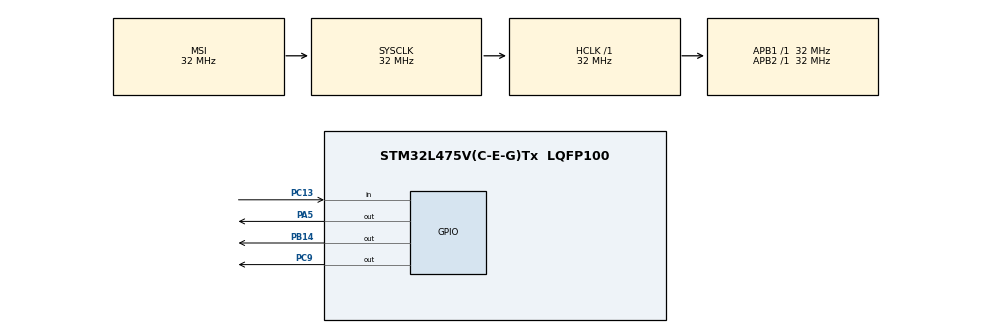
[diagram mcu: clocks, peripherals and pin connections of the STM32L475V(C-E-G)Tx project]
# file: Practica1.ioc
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Mcu.Family=STM32L4
Mcu.Name=STM32L475V(C-E-G)Tx
Mcu.Package=LQFP100
NVIC.PriorityGroup=NVIC_PRIORITYGROUP_4
PA5.Signal=GPIO_Output
PB14.Signal=GPIO_Output
PC13.Signal=GPIO_Input
PC9.Signal=GPIO_Output
PH0-OSC_IN\ (PH0).Mode=HSE-External-Oscillator
PH0-OSC_IN\ (PH0).Signal=RCC_OSC_IN
PH1-OSC_OUT\ (PH1).Mode=HSE-External-Oscillator
PH1-OSC_OUT\ (PH1).Signal=RCC_OSC_OUT
ProjectManager.HeapSize=0x200
ProjectManager.StackSize=0x400
ProjectManager.TargetToolchain=STM32CubeIDE
RCC.ADCFreq_Value=128000000
RCC.AHBFreq_Value=32000000
RCC.APB1Freq_Value=32000000
RCC.APB1TimFreq_Value=32000000
RCC.APB2Freq_Value=32000000
RCC.APB2TimFreq_Value=32000000
RCC.CortexFreq_Value=32000000
RCC.HCLKFreq_Value=32000000
RCC.HSE_VALUE=8000000
RCC.HSI_VALUE=16000000
RCC.LSE_VALUE=32768
RCC.MSIClockRange=RCC_MSIRANGE_10
RCC.MSI_VALUE=32000000
RCC.PLLN=20
RCC.SYSCLKFreq_VALUE=32000000
RCC.USBFreq_Value=128000000
RCC.VCOOutputFreq_Value=640000000
board=custom

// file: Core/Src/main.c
/* USER CODE BEGIN Header */
/**
  ******************************************************************************
  * @file           : main.c
  * @brief          : Main program body
  ******************************************************************************
  * @attention
  *
  * Copyright (c) 2025 STMicroelectronics.
  * All rights reserved.
  *
  * This software is licensed under terms that can be found in the LICENSE file
  * in the root directory of this software component.
  * If no LICENSE file comes with this software, it is provided AS-IS.
  *
  ******************************************************************************
  */
/* USER CODE END Header */
#include "main.h"
#include "led_driver.h"
#include "joy_driver.h"

void SystemClock_Config(void);
static void MX_GPIO_Init(void);
void animation1();
void animation2();
void animation3();

int main(void)
{

  /* MCU Configuration--------------------------------------------------------*/

  /* Reset of all peripherals, Initializes the Flash interface and the Systick. */
  HAL_Init();

  /* Configure the system clock */
  SystemClock_Config();

  /* Initialize all configured peripherals */
  MX_GPIO_Init();

  /* Infinite loop */
  while (1)
  {

    /* USER CODE BEGIN 3 */
	  //HAL_GPIO_WritePin(GPIOA, GPIO_PIN_5, SET);
	  //HAL_GPIO_WritePin(GPIOA, GPIO_PIN_5, RESET);
	  //HAL_GPIO_TogglePin(GPIOA, GPIO_PIN_5);
	  //uint8_t nLed;
	  //for(nLed=0; nLed<3; nLed++){
	  //	  LED_Off(nLed);
	//	  HAL_Delay(200);
		//  LED_On(nLed);
		  //HAL_Delay(200);
		  //LED_Toggle(nLed);
		  //HAL_Delay(200);
	 // }

	  switch(readJoy()){
	  	 case 0:
	  		 LED_Off(0);
	  		 LED_Off(1);
	  		 LED_Off(2);
	  		 break;
	  	 case 1:
	  		  animation1();
	  		break;
	  	 case 2:
	  		 animation2();
	  		break;
	  	 case 3:
	  		 animation3();
	  		break;
	  }
  }
  /* USER CODE END 3 */
}

void SystemClock_Config(void)
{
  RCC_OscInitTypeDef RCC_OscInitStruct = {0};
  RCC_ClkInitTypeDef RCC_ClkInitStruct = {0};

  /** Configure the main internal regulator output voltage
  */
  if (HAL_PWREx_ControlVoltageScaling(PWR_REGULATOR_VOLTAGE_SCALE1) != HAL_OK)
  {
    Error_Handler();
  }

  /** Initializes the RCC Oscillators according to the specified parameters
  * in the RCC_OscInitTypeDef structure.
  */
  RCC_OscInitStruct.OscillatorType = RCC_OSCILLATORTYPE_MSI;
  RCC_OscInitStruct.MSIState = RCC_MSI_ON;
  RCC_OscInitStruct.MSICalibrationValue = 0;
  RCC_OscInitStruct.MSIClockRange = RCC_MSIRANGE_10;
  RCC_OscInitStruct.PLL.PLLState = RCC_PLL_NONE;
  if (HAL_RCC_OscConfig(&RCC_OscInitStruct) != HAL_OK)
  {
    Error_Handler();
  }

  /** Initializes the CPU, AHB and APB buses clocks
  */
  RCC_ClkInitStruct.ClockType = RCC_CLOCKTYPE_HCLK|RCC_CLOCKTYPE_SYSCLK
                              |RCC_CLOCKTYPE_PCLK1|RCC_CLOCKTYPE_PCLK2;
  RCC_ClkInitStruct.SYSCLKSource = RCC_SYSCLKSOURCE_MSI;
  RCC_ClkInitStruct.AHBCLKDivider = RCC_SYSCLK_DIV1;
  RCC_ClkInitStruct.APB1CLKDivider = RCC_HCLK_DIV1;
  RCC_ClkInitStruct.APB2CLKDivider = RCC_HCLK_DIV1;

  if (HAL_RCC_ClockConfig(&RCC_ClkInitStruct, FLASH_LATENCY_1) != HAL_OK)
  {
    Error_Handler();
  }
}

static void MX_GPIO_Init(void)
{
  GPIO_InitTypeDef GPIO_InitStruct = {0};

  /* GPIO Ports Clock Enable */
  __HAL_RCC_GPIOC_CLK_ENABLE();
  __HAL_RCC_GPIOH_CLK_ENABLE();
  __HAL_RCC_GPIOA_CLK_ENABLE();
  __HAL_RCC_GPIOB_CLK_ENABLE();

  /*Configure GPIO pin Output Level */
  HAL_GPIO_WritePin(GPIOA, GPIO_PIN_5, GPIO_PIN_RESET);

  /*Configure GPIO pin Output Level */
  HAL_GPIO_WritePin(GPIOB, GPIO_PIN_14, GPIO_PIN_RESET);

  /*Configure GPIO pin Output Level */
  HAL_GPIO_WritePin(GPIOC, GPIO_PIN_9, GPIO_PIN_RESET);

  /*Configure GPIO pin : PC13 */
  GPIO_InitStruct.Pin = GPIO_PIN_13;
  GPIO_InitStruct.Mode = GPIO_MODE_INPUT;
  GPIO_InitStruct.Pull = GPIO_NOPULL;
  HAL_GPIO_Init(GPIOC, &GPIO_InitStruct);

  /*Configure GPIO pin : PA5 */
  GPIO_InitStruct.Pin = GPIO_PIN_5;
  GPIO_InitStruct.Mode = GPIO_MODE_OUTPUT_PP;
  GPIO_InitStruct.Pull = GPIO_NOPULL;
  GPIO_InitStruct.Speed = GPIO_SPEED_FREQ_LOW;
  HAL_GPIO_Init(GPIOA, &GPIO_InitStruct);

  /*Configure GPIO pin : PB14 */
  GPIO_InitStruct.Pin = GPIO_PIN_14;
  GPIO_InitStruct.Mode = GPIO_MODE_OUTPUT_PP;
  GPIO_InitStruct.Pull = GPIO_NOPULL;
  GPIO_InitStruct.Speed = GPIO_SPEED_FREQ_LOW;
  HAL_GPIO_Init(GPIOB, &GPIO_InitStruct);

  /*Configure GPIO pin : PC9 */
  GPIO_InitStruct.Pin = GPIO_PIN_9;
  GPIO_InitStruct.Mode = GPIO_MODE_OUTPUT_PP;
  GPIO_InitStruct.Pull = GPIO_NOPULL;
  GPIO_InitStruct.Speed = GPIO_SPEED_FREQ_LOW;
  HAL_GPIO_Init(GPIOC, &GPIO_InitStruct);

}

/* USER CODE BEGIN 4 */

void animation1(){
	int i;
	LED_Off(0);
	for(i =0; i<10;i++){
		LED_Toggle(0);
		HAL_Delay(200);
		LED_Toggle(1);
		HAL_Delay(200);
	}
	LED_Off(0);
	LED_Off(1);
}

void animation2(){
	int i;
	LED_Off(0);
	for(i =0; i<10;i++){
		LED_Toggle(2);
		HAL_Delay(200);
		LED_Toggle(3);
		HAL_Delay(200);
	}
	LED_Off(2);
	LED_Off(3);
}
void animation3(){
	int i;
	LED_Off(0);
	for(i =0; i<10;i++){
		LED_Toggle(3);
		HAL_Delay(200);
		LED_Toggle(1);
		HAL_Delay(200);
	}
	LED_Off(3);
	LED_Off(1);
}

/* USER CODE END 4 */

void Error_Handler(void)
{
  __disable_irq();
  while (1)
  {
  }
}
